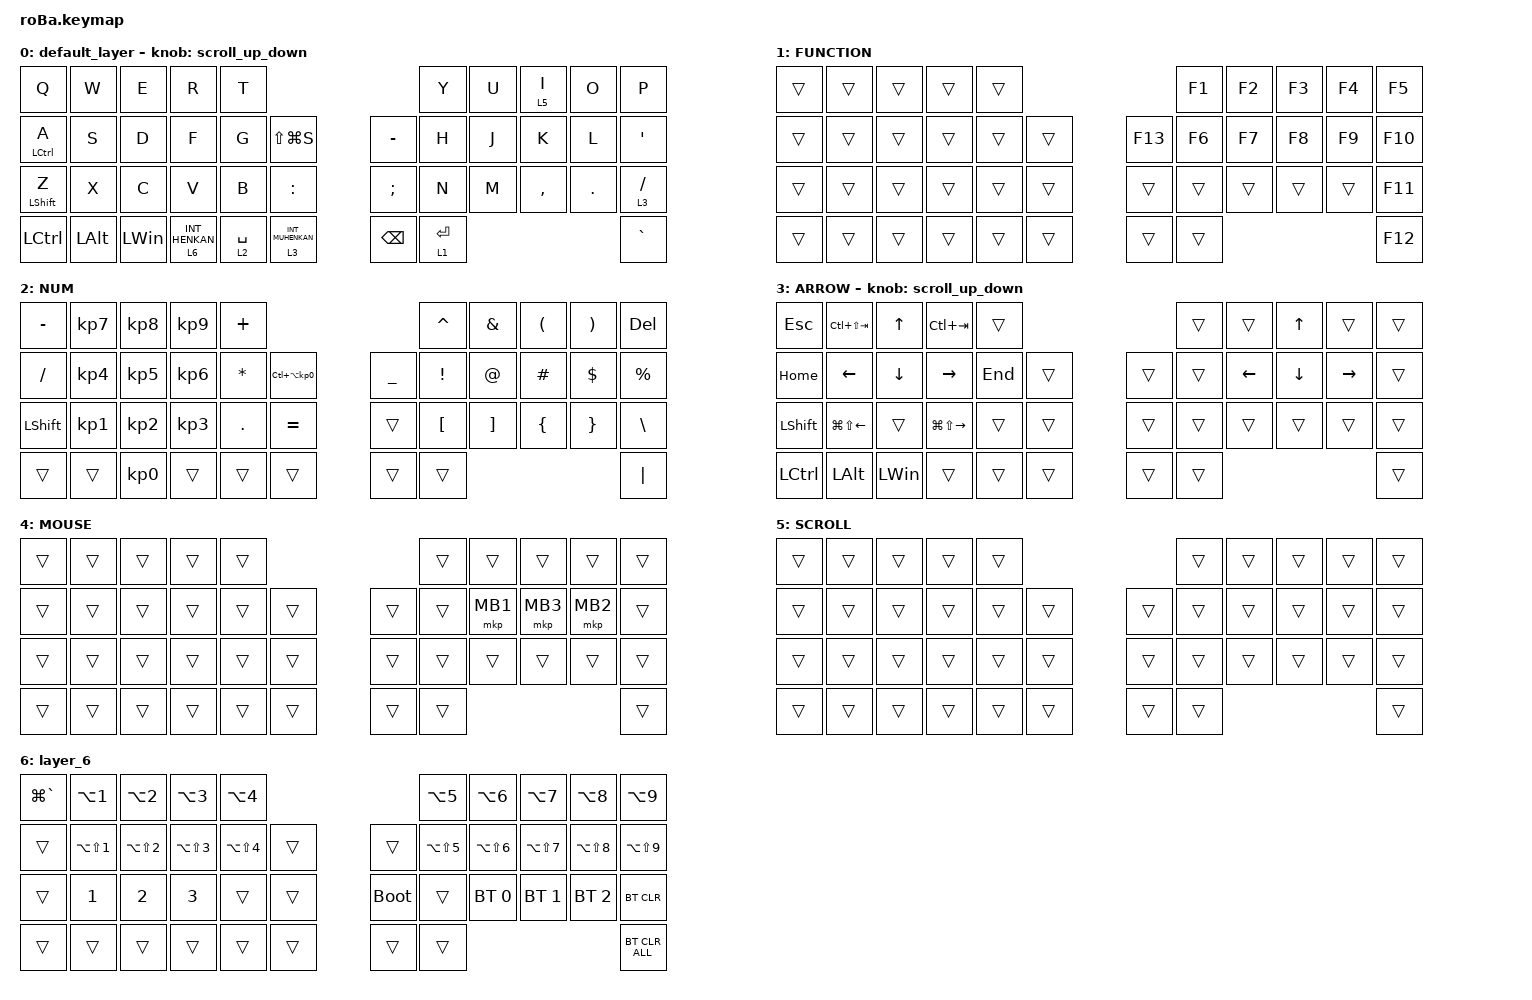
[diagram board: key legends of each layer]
#include <behaviors.dtsi>
#include <dt-bindings/zmk/bt.h>
#include <dt-bindings/zmk/keys.h>
#include <dt-bindings/zmk/pointing.h>

#define ZMK_POINTING_DEFAULT_SCRL_VAL 100

&mt {
    flavor = "balanced";
    quick-tap-ms = <0>;
};

&trackball {
    automouse-layer = <4>;
    scroll-layers = <5>;

    // arrows {
    //     layers = <3>;
    //     bindings =
    //         <&kp RIGHT_ARROW>,
    //         <&kp LEFT_ARROW>,
    //         <&kp UP_ARROW>,
    //         <&kp DOWN_ARROW>;

    //     tick = <10>;
    //     wait-ms = <5>;
    //     tap-ms = <5>;
    // };
};

/ {
    combos {
        compatible = "zmk,combos";

        tab {
            bindings = <&kp TAB>;
            key-positions = <10 11>;
        };

        double_quotation {
            bindings = <&kp DOUBLE_QUOTES>;
            key-positions = <20 21>;
        };

        eq {
            bindings = <&kp EQUAL>;
            key-positions = <24 25>;
        };
    };

    macros {
        to_layer_0: to_layer_0 {
            compatible = "zmk,behavior-macro-one-param";
            #binding-cells = <1>;
            bindings = <&to 0 &macro_param_1to1 &kp MACRO_PLACEHOLDER>;
            label = "TO_LAYER_0";
        };

        // mkp_exit_AML: mkp_exit_AML {
        //     compatible = "zmk,behavior-macro-one-param";
        //     #binding-cells = <1>;
        //     bindings = 
        //         <&macro_press>,
        //         <&macro_param_1to1 &mkp MACRO_PLACEHOLDER>,
        //         <&macro_pause_for_release>,
        //         <&macro_release>,
        //         <&macro_param_1to1 &mkp MACRO_PLACEHOLDER>,
        //         <&macro_tap>,
        //         <&sl 4>;
// 
        //     label = "MKP_EXIT_AML";
        // };
    };

    behaviors {
        lt_to_layer_0: lt_to_layer_0 {
            compatible = "zmk,behavior-hold-tap";
            label = "LAYER_TAP_TO_0";
            bindings = <&mo>, <&to_layer_0>;

            #binding-cells = <2>;
            tapping-term-ms = <200>;
        };

        // 新しいスクロール動作の追加
        scroll_up_down: behavior_sensor_rotate_mouse_wheel_up_down {
            compatible = "zmk,behavior-sensor-rotate";
            #sensor-binding-cells = <0>;
            bindings = <&msc SCRL_UP>, <&msc SCRL_DOWN>;
            // 追加: スクロールのタップ時間を設定 (20ms)
            tap-ms = <20>;
        };
    };



    keymap {
        compatible = "zmk,keymap";

        default_layer {
            bindings = <
&kp Q             &kp W         &kp E         &kp R                        &kp T                                                          &kp Y        &kp U  &lt 5 I    &kp O    &kp P
&mt LCTRL A       &kp S         &kp D         &kp F                        &kp G        &kp LS(LG(S))                      &kp MINUS      &kp H        &kp J  &kp K      &kp L    &kp SQT
&mt LEFT_SHIFT Z  &kp X         &kp C         &kp V                        &kp B        &kp COLON                          &kp SEMICOLON  &kp N        &kp M  &kp COMMA  &kp DOT  &lt 3 SLASH
&kp LCTRL         &kp LEFT_ALT  &kp LEFT_WIN  &lt_to_layer_0 6 INT_HENKAN  &lt 2 SPACE  &lt_to_layer_0 3 INT_MUHENKAN      &kp BACKSPACE  &lt 1 ENTER                             &kp GRAVE
            >;

            sensor-bindings = <&scroll_up_down>;
        };

        FUNCTION {
            bindings = <
&trans  &trans  &trans  &trans  &trans                       &kp F1  &kp F2  &kp F3  &kp F4  &kp F5
&trans  &trans  &trans  &trans  &trans  &trans      &kp F13  &kp F6  &kp F7  &kp F8  &kp F9  &kp F10
&trans  &trans  &trans  &trans  &trans  &trans      &trans   &trans  &trans  &trans  &trans  &kp F11
&trans  &trans  &trans  &trans  &trans  &trans      &trans   &trans                          &kp F12
            >;
        };

        NUM {
            bindings = <
&kp MINUS      &kp KP_NUMBER_7  &kp KP_NUMBER_8  &kp KP_NUMBER_9  &kp PLUS                                                   &kp CARET         &kp AMPERSAND      &kp LEFT_PARENTHESIS  &kp RIGHT_PARENTHESIS &kp DEL
&kp SLASH      &kp KP_NUMBER_4  &kp KP_NUMBER_5  &kp KP_NUMBER_6  &kp ASTERISK  &kp LC(LA(KP_NUMBER_0))      &kp UNDERSCORE  &kp EXCLAMATION   &kp AT_SIGN        &kp HASH              &kp DOLLAR            &kp PERCENT
&kp LEFT_SHIFT &kp KP_NUMBER_1  &kp KP_NUMBER_2  &kp KP_NUMBER_3  &kp PERIOD    &kp EQUAL                    &trans          &kp LEFT_BRACKET  &kp RIGHT_BRACKET  &kp LEFT_BRACE        &kp RIGHT_BRACE       &kp BACKSLASH
&trans         &trans           &kp KP_NUMBER_0  &trans           &trans        &trans                       &trans          &trans                                                                           &kp PIPE
            >;
        };

        ARROW {
            bindings = <
&kp ESCAPE      &kp LC(LS(TAB))         &kp UP_ARROW    &kp LC(TAB)              &trans                       &trans  &trans          &kp UP_ARROW    &trans           &trans
&kp HOME        &kp LEFT_ARROW          &kp DOWN_ARROW  &kp RIGHT_ARROW          &kp END  &trans      &trans  &trans  &kp LEFT_ARROW  &kp DOWN_ARROW  &kp RIGHT_ARROW  &trans
&kp LEFT_SHIFT  &kp LG(LS(LEFT_ARROW))  &trans          &kp LG(LS(RIGHT_ARROW))  &trans   &trans      &trans  &trans  &trans          &trans          &trans           &trans
&kp LCTRL       &kp LEFT_ALT            &kp LEFT_WIN    &trans                   &trans   &trans      &trans  &trans                                                   &trans
            >;

            sensor-bindings = <&scroll_up_down>;
        };

        MOUSE {
            bindings = <
&trans  &trans  &trans  &trans  &trans                      &trans  &trans    &trans    &trans    &trans
&trans  &trans  &trans  &trans  &trans  &trans      &trans  &trans  &mkp MB1  &mkp MB3  &mkp MB2  &trans
&trans  &trans  &trans  &trans  &trans  &trans      &trans  &trans  &trans    &trans    &trans    &trans
&trans  &trans  &trans  &trans  &trans  &trans      &trans  &trans                                &trans
            >;
        };

        SCROLL {
            bindings = <
&trans  &trans  &trans  &trans  &trans                      &trans  &trans  &trans  &trans  &trans
&trans  &trans  &trans  &trans  &trans  &trans      &trans  &trans  &trans  &trans  &trans  &trans
&trans  &trans  &trans  &trans  &trans  &trans      &trans  &trans  &trans  &trans  &trans  &trans
&trans  &trans  &trans  &trans  &trans  &trans      &trans  &trans                          &trans
            >;
        };

        layer_6 {
            bindings = <
&kp LG(GRAVE)     &kp LA(NUMBER_1)      &kp LA(NUMBER_2)      &kp LA(NUMBER_3)      &kp LA(NUMBER_4)                              &kp LA(NUMBER_5)      &kp LA(NUMBER_6)      &kp LA(NUMBER_7)      &kp LA(NUMBER_8)      &kp LA(NUMBER_9)
&trans            &kp LA(LS(NUMBER_1))  &kp LA(LS(NUMBER_2))  &kp LA(LS(NUMBER_3))  &kp LA(LS(NUMBER_4)) &trans      &trans       &kp LA(LS(NUMBER_5))  &kp LA(LS(NUMBER_6))  &kp LA(LS(NUMBER_7))  &kp LA(LS(NUMBER_8))  &kp LA(LS(NUMBER_9))
&trans            &kp NUMBER_1          &kp NUMBER_2          &kp NUMBER_3          &trans               &trans      &bootloader  &trans                &bt BT_SEL 0          &bt BT_SEL 1          &bt BT_SEL 2          &bt BT_CLR
&trans            &trans                &trans                &trans                &trans               &trans      &trans       &trans                                                                                  &bt BT_CLR_ALL
            >;
        };
    };
};
